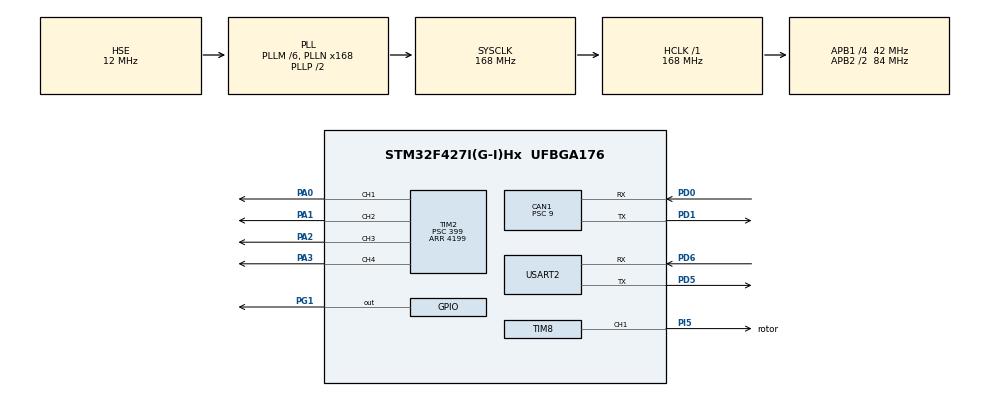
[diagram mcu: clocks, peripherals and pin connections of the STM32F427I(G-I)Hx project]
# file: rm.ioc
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CAN1.ABOM=ENABLE
CAN1.BS1=CAN_BS1_2TQ
CAN1.BS2=CAN_BS2_1TQ
CAN1.CalculateTimeQuantum=214.28571428571428
CAN1.Prescaler=9
FREERTOS.Tasks01=ServoTask,1,128,Servo_Task,Default,NULL,Dynamic,NULL,NULL;TopTask,0,128,Top_Task,Default,NULL,Dynamic,NULL,NULL;caCcommu,-3,128,can_Commu,Default,NULL,Dynamic,NULL,NULL
Mcu.Family=STM32F4
Mcu.Name=STM32F427I(G-I)Hx
Mcu.Package=UFBGA176
NVIC.CAN1_RX0_IRQn=true\:5\:0\:false\:false\:true\:true\:true\:true
NVIC.CAN1_TX_IRQn=true\:5\:0\:false\:false\:true\:true\:true\:true
NVIC.PriorityGroup=NVIC_PRIORITYGROUP_4
NVIC.TIM1_UP_TIM10_IRQn=true\:0\:0\:false\:false\:true\:false\:false\:true
NVIC.TimeBase=TIM1_UP_TIM10_IRQn
NVIC.TimeBaseIP=TIM1
NVIC.USART2_IRQn=true\:5\:0\:false\:false\:true\:true\:true\:true
PA0/WKUP.Signal=S_TIM2_CH1_ETR
PA1.Signal=S_TIM2_CH2
PA13.Mode=Serial_Wire
PA13.Signal=SYS_JTMS-SWDIO
PA14.Mode=Serial_Wire
PA14.Signal=SYS_JTCK-SWCLK
PA2.Signal=S_TIM2_CH3
PA3.Signal=S_TIM2_CH4
PD0.GPIO_PuPd=GPIO_PULLUP
PD0.Mode=Master
PD0.Signal=CAN1_RX
PD1.GPIO_PuPd=GPIO_PULLUP
PD1.Mode=Master
PD1.Signal=CAN1_TX
PD5.Mode=Asynchronous
PD5.Signal=USART2_TX
PD6.Mode=Asynchronous
PD6.Signal=USART2_RX
PG1.Signal=GPIO_Output
PH0/OSC_IN.Mode=HSE-External-Oscillator
PH0/OSC_IN.Signal=RCC_OSC_IN
PH1/OSC_OUT.Mode=HSE-External-Oscillator
PH1/OSC_OUT.Signal=RCC_OSC_OUT
PI5.GPIO_Label=rotor
PI5.Signal=S_TIM8_CH1
ProjectManager.HeapSize=0x200
ProjectManager.StackSize=0x400
ProjectManager.TargetToolchain=MDK-ARM V5
RCC.48MHZClocksFreq_Value=84000000
RCC.AHBFreq_Value=168000000
RCC.APB1CLKDivider=RCC_HCLK_DIV4
RCC.APB1Freq_Value=42000000
RCC.APB1TimFreq_Value=84000000
RCC.APB2CLKDivider=RCC_HCLK_DIV2
RCC.APB2Freq_Value=84000000
RCC.APB2TimFreq_Value=168000000
RCC.CortexFreq_Value=168000000
RCC.HCLKFreq_Value=168000000
RCC.HSE_VALUE=12000000
RCC.HSI_VALUE=16000000
RCC.LSE_VALUE=32768
RCC.PLLM=6
RCC.PLLN=168
RCC.PLLSourceVirtual=RCC_PLLSOURCE_HSE
RCC.SYSCLKFreq_VALUE=168000000
RCC.SYSCLKSource=RCC_SYSCLKSOURCE_PLLCLK
RCC.VCOOutputFreq_Value=336000000
SH.S_TIM2_CH1_ETR.0=TIM2_CH1,PWM Generation1 CH1
SH.S_TIM2_CH2.0=TIM2_CH2,PWM Generation2 CH2
SH.S_TIM2_CH3.0=TIM2_CH3,PWM Generation3 CH3
SH.S_TIM2_CH4.0=TIM2_CH4,PWM Generation4 CH4
SH.S_TIM8_CH1.0=TIM8_CH1,PWM Generation1 CH1
TIM2.AutoReloadPreload=TIM_AUTORELOAD_PRELOAD_ENABLE
TIM2.Channel-PWM\ Generation1\ CH1=TIM_CHANNEL_1
TIM2.Channel-PWM\ Generation2\ CH2=TIM_CHANNEL_2
TIM2.Channel-PWM\ Generation3\ CH3=TIM_CHANNEL_3
TIM2.Channel-PWM\ Generation4\ CH4=TIM_CHANNEL_4
TIM2.OCPolarity_1=TIM_OCPOLARITY_HIGH
TIM2.Period=4199
TIM2.Prescaler=399
TIM8.AutoReloadPreload=TIM_AUTORELOAD_PRELOAD_ENABLE
TIM8.Channel-PWM\ Generation1\ CH1=TIM_CHANNEL_1
TIM8.Period=4199
TIM8.Prescaler=799
USART2.VirtualMode=VM_ASYNC
VP_FREERTOS_VS_CMSIS_V1.Mode=CMSIS_V1
VP_SYS_VS_tim1.Mode=TIM1
VP_TIM2_VS_ClockSourceINT.Mode=Internal
board=custom

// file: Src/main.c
/* USER CODE BEGIN Header */
/**
  ******************************************************************************
  * @file           : main.c
  * @brief          : Main program body
  ******************************************************************************
  * @attention
  *
  * <h2><center>&copy; Copyright (c) 2022 STMicroelectronics.
  * All rights reserved.</center></h2>
  *
  * This software component is licensed by ST under BSD 3-Clause license,
  * the "License"; You may not use this file except in compliance with the
  * License. You may obtain a copy of the License at:
  *                        opensource.org/licenses/BSD-3-Clause
  *
  ******************************************************************************
  */
/* USER CODE END Header */

#include "main.h"
#include "cmsis_os.h"
#include "can.h"
#include "tim.h"
#include "usart.h"
#include "gpio.h"

/* USER CODE BEGIN Includes */
#include "grip.h"

/* USER CODE END Includes */

void SystemClock_Config(void);
void MX_FREERTOS_Init(void);

int main(void)
{
  /* USER CODE BEGIN 1 */
	HAL_GPIO_WritePin(GPIOG,GPIO_PIN_1,1);

  /* USER CODE END 1 */

  /* MCU Configuration--------------------------------------------------------*/

  /* Reset of all peripherals, Initializes the Flash interface and the Systick. */
  HAL_Init();

  /* USER CODE BEGIN Init */
	can_user_init(&hcan1);
  /* USER CODE END Init */

  /* Configure the system clock */
  SystemClock_Config();

  /* Initialize all configured peripherals */
  MX_GPIO_Init();
  MX_TIM2_Init();
  MX_USART2_UART_Init();
  MX_TIM8_Init();
  MX_CAN1_Init();
  /* USER CODE BEGIN 2 */
	HAL_TIM_PWM_Start(&htim2, TIM_CHANNEL_1);
	HAL_TIM_PWM_Start(&htim2, TIM_CHANNEL_2);
	HAL_TIM_PWM_Start(&htim2, TIM_CHANNEL_3);
	HAL_TIM_PWM_Start(&htim2, TIM_CHANNEL_4);
	HAL_TIM_PWM_Start(&htim8, TIM_CHANNEL_1);
  /* USER CODE END 2 */

  /* Call init function for freertos objects (in freertos.c) */
  MX_FREERTOS_Init();

  /* Start scheduler */
  osKernelStart();

  /* We should never get here as control is now taken by the scheduler */

  /* Infinite loop */
  while (1)
  {

    /* USER CODE BEGIN 3 */
//		rm_servo(90.5);
//		servo1(100);
//		servo2(100);
//		HAL_Delay(1000);
//		rm_servo(0);
//		servo1(0);
//		servo2(0);
//		HAL_Delay(1000);

  }
  /* USER CODE END 3 */
}

void SystemClock_Config(void)
{
  RCC_OscInitTypeDef RCC_OscInitStruct = {0};
  RCC_ClkInitTypeDef RCC_ClkInitStruct = {0};

  /** Configure the main internal regulator output voltage
  */
  __HAL_RCC_PWR_CLK_ENABLE();
  __HAL_PWR_VOLTAGESCALING_CONFIG(PWR_REGULATOR_VOLTAGE_SCALE1);
  /** Initializes the CPU, AHB and APB busses clocks
  */
  RCC_OscInitStruct.OscillatorType = RCC_OSCILLATORTYPE_HSE;
  RCC_OscInitStruct.HSEState = RCC_HSE_ON;
  RCC_OscInitStruct.PLL.PLLState = RCC_PLL_ON;
  RCC_OscInitStruct.PLL.PLLSource = RCC_PLLSOURCE_HSE;
  RCC_OscInitStruct.PLL.PLLM = 6;
  RCC_OscInitStruct.PLL.PLLN = 168;
  RCC_OscInitStruct.PLL.PLLP = RCC_PLLP_DIV2;
  RCC_OscInitStruct.PLL.PLLQ = 4;
  if (HAL_RCC_OscConfig(&RCC_OscInitStruct) != HAL_OK)
  {
    Error_Handler();
  }
  /** Initializes the CPU, AHB and APB busses clocks
  */
  RCC_ClkInitStruct.ClockType = RCC_CLOCKTYPE_HCLK|RCC_CLOCKTYPE_SYSCLK
                              |RCC_CLOCKTYPE_PCLK1|RCC_CLOCKTYPE_PCLK2;
  RCC_ClkInitStruct.SYSCLKSource = RCC_SYSCLKSOURCE_PLLCLK;
  RCC_ClkInitStruct.AHBCLKDivider = RCC_SYSCLK_DIV1;
  RCC_ClkInitStruct.APB1CLKDivider = RCC_HCLK_DIV4;
  RCC_ClkInitStruct.APB2CLKDivider = RCC_HCLK_DIV2;

  if (HAL_RCC_ClockConfig(&RCC_ClkInitStruct, FLASH_LATENCY_5) != HAL_OK)
  {
    Error_Handler();
  }
}

void HAL_TIM_PeriodElapsedCallback(TIM_HandleTypeDef *htim)
{
  if (htim->Instance == TIM1) {
    HAL_IncTick();
  }
}

void Error_Handler(void)
{
}

/************************ (C) COPYRIGHT STMicroelectronics *****END OF FILE****/

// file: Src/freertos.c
/* USER CODE BEGIN Header */
/**
  ******************************************************************************
  * File Name          : freertos.c
  * Description        : Code for freertos applications
  ******************************************************************************
  * @attention
  *
  * <h2><center>&copy; Copyright (c) 2022 STMicroelectronics.
  * All rights reserved.</center></h2>
  *
  * This software component is licensed by ST under Ultimate Liberty license
  * SLA0044, the "License"; You may not use this file except in compliance with
  * the License. You may obtain a copy of the License at:
  *                             www.st.com/SLA0044
  *
  ******************************************************************************
  */
/* USER CODE END Header */

#include "FreeRTOS.h"
#include "task.h"
#include "main.h"
#include "cmsis_os.h"

/* USER CODE BEGIN Includes */
#include "motor_pid.h"
#include "grip.h"
#include "pid.h"

/* USER CODE END Includes */

/* USER CODE BEGIN PTD */
extern pid_struct_t motor_pid[7];
//MecArmAttiSturcture  tx;
QueueHandle_t	myQueue01Handle;

/* USER CODE END PTD */

/* USER CODE BEGIN Variables */
float servoAngle[4] = {0, 7, -74, -23};
float servoRefAngle[4] = {0, 7, -74, -23};
/* USER CODE END Variables */
osThreadId ServoTaskHandle;
osThreadId TopTaskHandle;
osThreadId caCcommuHandle;

void Servo_Task(void const * argument);
void Top_Task(void const * argument);
void can_Commu(void const * argument);

void MX_FREERTOS_Init(void); /* (MISRA C 2004 rule 8.1) */

/* GetIdleTaskMemory prototype (linked to static allocation support) */
void vApplicationGetIdleTaskMemory( StaticTask_t **ppxIdleTaskTCBBuffer, StackType_t **ppxIdleTaskStackBuffer, uint32_t *pulIdleTaskStackSize );

/* USER CODE BEGIN GET_IDLE_TASK_MEMORY */
static StaticTask_t xIdleTaskTCBBuffer;
static StackType_t xIdleStack[configMINIMAL_STACK_SIZE];

void vApplicationGetIdleTaskMemory( StaticTask_t **ppxIdleTaskTCBBuffer, StackType_t **ppxIdleTaskStackBuffer, uint32_t *pulIdleTaskStackSize )
{
  *ppxIdleTaskTCBBuffer = &xIdleTaskTCBBuffer;
  *ppxIdleTaskStackBuffer = &xIdleStack[0];
  *pulIdleTaskStackSize = configMINIMAL_STACK_SIZE;
  /* place for user code */
}
/* USER CODE END GET_IDLE_TASK_MEMORY */

void MX_FREERTOS_Init(void) {
  /* USER CODE BEGIN Init */
	myQueue01Handle = xQueueCreate(10, sizeof(MecArmAttiSturcture));
	for(int i = 0; i < 4; i++)
	{
		servoRefAngle[i] = servoAngle[i];
	}
	//tx.pointX = 0.35;
	//tx.pointY = 0.21;
	//tx.pointZ = 0.27;

  /* USER CODE END Init */

  /* Create the thread(s) */
  /* definition and creation of ServoTask */
  osThreadDef(ServoTask, Servo_Task, osPriorityAboveNormal, 0, 128);
  ServoTaskHandle = osThreadCreate(osThread(ServoTask), NULL);

  /* definition and creation of TopTask */
  osThreadDef(TopTask, Top_Task, osPriorityNormal, 0, 128);
  TopTaskHandle = osThreadCreate(osThread(TopTask), NULL);

  /* definition and creation of caCcommu */
  osThreadDef(caCcommu, can_Commu, osPriorityIdle, 0, 128);
  caCcommuHandle = osThreadCreate(osThread(caCcommu), NULL);

}

void Servo_Task(void const * argument)
{

  /* USER CODE BEGIN Servo_Task */
	MecArmAttiSturcture  rx;				//接收结构体变量要在接收函数里定义
	for (uint8_t i = 0; i < 7; i++)
  {
    pid_init(&motor_pid[i], 40, 3, 0, 30000, 30000); //init pid parameter, kp=40, ki=3, kd=0, output limit = 30000
  }

  /* Infinite loop */
  for(;;)
  {
			//xQueueReceive(myQueue01Handle, &(rx), 500);
			if(xQueueReceive(myQueue01Handle, &(rx), 500))
			{
				//printf("receive rx.pointX: %f \n", rx.pointX);
				//printf("receive rx.pointY: %f \n", rx.pointY);
				//printf("receive rx.pointZ: %f \n", rx.pointZ);

				attitudeGetAngle_get(rx, servoAngle);
				if(attitudeGetAngle_get(rx, servoAngle) != 1)
				{

					vTaskDelay(5);
					servo1(servoAngle[0]);
					vTaskDelay(5);
					servo2(servoAngle[1]);
					vTaskDelay(5);
					servo3(servoAngle[2]);
					rm_servo(servoAngle[3],50);
					vTaskDelay(5);
					//clip(-26);//-26开，-10夹紧   -37张角最大
					for(int i = 0; i < 4; i++)
					{
						printf(" angle = %f \n ",servoAngle[i]);
						osDelay(50);
					}
				}
			}

	}

  /* USER CODE END Servo_Task */
}

void Top_Task(void const * argument)
{
  /* USER CODE BEGIN Top_Task */

  /* Infinite loop */

  for(;;)
  {
		//xQueueSendToBack(myQueue01Handle, (void *)&tx, 0);
		//if(xQueueSendToBack(myQueue01Handle, (void *)&tx, 0))
		//{
			//printf("successfully send : %f", tx.pointY);
		//}
		init_pos();
		move_get();
		move_get2();
		up();
    osDelay(100);
  }
  /* USER CODE END Top_Task */
}

void can_Commu(void const * argument)
{
  for(;;)
  {
    osDelay(1);
  }
}

/************************ (C) COPYRIGHT STMicroelectronics *****END OF FILE****/
